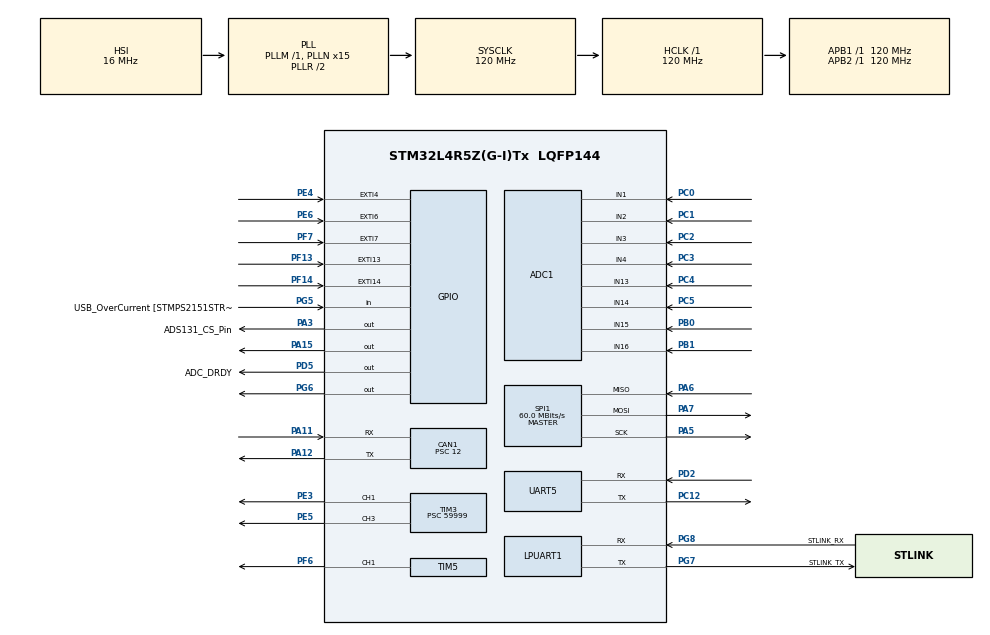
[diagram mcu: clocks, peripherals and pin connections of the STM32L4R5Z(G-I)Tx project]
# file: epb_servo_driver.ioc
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ADC1.Channel-0\#ChannelRegularConversion=ADC_CHANNEL_1
ADC1.NbrOfConversionFlag=1
ADC1.OffsetNumber-0\#ChannelRegularConversion=ADC_OFFSET_NONE
ADC1.Rank-0\#ChannelRegularConversion=1
ADC1.SamplingTime-0\#ChannelRegularConversion=ADC_SAMPLETIME_2CYCLES_5
ADC1.SingleDiff-0\#ChannelRegularConversion=ADC_DIFFERENTIAL_ENDED
ADC1.master=1
CAN1.BS1=CAN_BS1_13TQ
CAN1.BS2=CAN_BS2_6TQ
CAN1.CalculateBaudRate=500000
CAN1.CalculateTimeBit=2000
CAN1.CalculateTimeQuantum=100.0
CAN1.Mode=CAN_MODE_LOOPBACK
CAN1.Prescaler=12
LPUART1.WordLength=UART_WORDLENGTH_8B
Mcu.Family=STM32L4
Mcu.Name=STM32L4R5Z(G-I)Tx
Mcu.Package=LQFP144
NVIC.CAN1_RX0_IRQn=true\:0\:0\:false\:false\:true\:true\:true\:true
NVIC.PriorityGroup=NVIC_PRIORITYGROUP_4
NVIC.TIM1_UP_TIM16_IRQn=true\:0\:0\:false\:false\:true\:true\:true\:true
PA11.GPIO_PuPd=GPIO_PULLUP
PA11.Mode=CAN_Activate
PA11.Signal=CAN1_RX
PA12.Mode=CAN_Activate
PA12.Signal=CAN1_TX
PA13\ (JTMS/SWDIO).Mode=Trace_Asynchronous_SW
PA13\ (JTMS/SWDIO).Signal=SYS_JTMS-SWDIO
PA14\ (JTCK/SWCLK).Mode=Trace_Asynchronous_SW
PA14\ (JTCK/SWCLK).Signal=SYS_JTCK-SWCLK
PA15\ (JTDI).Signal=GPIO_Output
PA3.GPIO_Label=ADS131_CS_Pin
PA3.Signal=GPIO_Output
PA5.Mode=Full_Duplex_Master
PA5.Signal=SPI1_SCK
PA6.Mode=Full_Duplex_Master
PA6.Signal=SPI1_MISO
PA7.Mode=Full_Duplex_Master
PA7.Signal=SPI1_MOSI
PB0.Signal=ADCx_IN15
PB1.Signal=ADCx_IN16
PB3\ (JTDO/TRACESWO).Mode=Trace_Asynchronous_SW
PB3\ (JTDO/TRACESWO).Signal=SYS_JTDO-SWO
PC0.Signal=ADCx_IN1
PC1.Signal=ADCx_IN2
PC10.Signal=SPI3_SCK
PC12.Mode=Asynchronous
PC12.Signal=UART5_TX
PC2.Signal=ADCx_IN3
PC3.Signal=ADCx_IN4
PC4.Signal=ADCx_IN13
PC5.Signal=ADCx_IN14
PD2.Mode=Asynchronous
PD2.Signal=UART5_RX
PD5.GPIO_Label=ADC_DRDY
PD5.Signal=GPIO_Output
PE3.Signal=S_TIM3_CH1
PE4.Signal=GPXTI4
PE5.Signal=S_TIM3_CH3
PE6.Signal=GPXTI6
PF13.Signal=GPXTI13
PF14.Signal=GPXTI14
PF6.Signal=S_TIM5_CH1
PF7.Signal=GPXTI7
PG5.GPIO_Label=USB_OverCurrent [STMPS2151STR_FAULT]
PG5.Signal=GPIO_Input
PG6.Signal=GPIO_Output
PG7.GPIO_Label=STLINK_TX
PG7.Mode=Asynchronous
PG7.Signal=LPUART1_TX
PG8.GPIO_Label=STLINK_RX
PG8.Mode=Asynchronous
PG8.Signal=LPUART1_RX
PH0-OSC_IN\ (PH0).Mode=HSE-External-Oscillator
PH0-OSC_IN\ (PH0).Signal=RCC_OSC_IN
PH1-OSC_OUT\ (PH1).Mode=HSE-External-Oscillator
PH1-OSC_OUT\ (PH1).Signal=RCC_OSC_OUT
ProjectManager.HeapSize=0x200
ProjectManager.StackSize=0x400
ProjectManager.TargetToolchain=STM32CubeIDE
RCC.48MHZClocksFreq_Value=24000000
RCC.ADCFreq_Value=64000000
RCC.AHBFreq_Value=120000000
RCC.APB1Freq_Value=120000000
RCC.APB1TimFreq_Value=120000000
RCC.APB2Freq_Value=120000000
RCC.APB2TimFreq_Value=120000000
RCC.CK48CLockSelection=RCC_USBCLKSOURCE_HSI48
RCC.CortexFreq_Value=120000000
RCC.HCLKFreq_Value=120000000
RCC.HSE_VALUE=8000000
RCC.HSI48_VALUE=48000000
RCC.HSI_VALUE=16000000
RCC.LSE_VALUE=32768
RCC.MSI_VALUE=4000000
RCC.PLLMUL=RCC_PLL_MUL9
RCC.PLLN=15
RCC.PLLSourceVirtual=RCC_PLLSOURCE_HSI
RCC.PRESCALERUSB=RCC_USBCLKSOURCE_PLL_DIV1_5
RCC.SYSCLKFreq_VALUE=120000000
RCC.SYSCLKSource=RCC_SYSCLKSOURCE_PLLCLK
RCC.SYSCLKSourceVirtual=RCC_SYSCLKSOURCE_PLLCLK
RCC.USBFreq_Value=48000000
RCC.VCOOutputFreq_Value=240000000
SH.ADCx_IN1.0=ADC1_IN1,IN1-Differential
SH.ADCx_IN13.0=ADC1_IN13,IN13-Differential
SH.ADCx_IN14.0=ADC1_IN14,IN13-Differential
SH.ADCx_IN15.0=ADC1_IN15,IN15-Differential
SH.ADCx_IN16.0=ADC1_IN16,IN15-Differential
SH.ADCx_IN2.0=ADC1_IN2,IN1-Differential
SH.ADCx_IN3.0=ADC1_IN3,IN3-Differential
SH.ADCx_IN4.0=ADC1_IN4,IN3-Differential
SH.S_TIM3_CH1.0=TIM3_CH1,PWM Generation1 CH1
SH.S_TIM3_CH3.0=TIM3_CH3,PWM Generation3 CH3
SH.S_TIM5_CH1.0=TIM5_CH1,PWM Generation1 CH1
SPI1.CLKPhase=SPI_PHASE_2EDGE
SPI1.CalculateBaudRate=60.0 MBits/s
SPI1.DataSize=SPI_DATASIZE_8BIT
SPI1.Direction=SPI_DIRECTION_2LINES
SPI1.Mode=SPI_MODE_MASTER
SPI1.VirtualType=VM_MASTER
TIM16.Period=59999
TIM16.Prescaler=39
TIM3.Channel-PWM\ Generation1\ CH1=TIM_CHANNEL_1
TIM3.Channel-PWM\ Generation3\ CH3=TIM_CHANNEL_3
TIM3.Period=5
TIM3.Prescaler=59999
TIM5.Channel-PWM\ Generation1\ CH1=TIM_CHANNEL_1
TIM5.Period=5
TIM5.Prescaler=59999
VP_TIM16_VS_ClockSourceINT.Mode=Enable_Timer
VP_TIM3_VS_ClockSourceINT.Mode=Internal
VP_TIM5_VS_ClockSourceINT.Mode=Internal
board=NUCLEO-L4R5ZI

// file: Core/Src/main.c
/* USER CODE BEGIN Header */
/**
 ******************************************************************************
 * @file           : main.c
 * @brief          : Main program body
 ******************************************************************************
 * @attention
 *
 * Copyright (c) 2025 STMicroelectronics.
 * All rights reserved.
 *
 * This software is licensed under terms that can be found in the LICENSE file
 * in the root directory of this software component.
 * If no LICENSE file comes with this software, it is provided AS-IS.
 *
 ******************************************************************************
 */
/* USER CODE END Header */
#include "main.h"

/* USER CODE BEGIN Includes */
#include "../../Drivers/servo_driver/servo_driver.h"
#include <stdio.h>
#include <stdarg.h>
#include <string.h>
#include "../../Drivers/ads_driver/ADS131B04Q1.h"
/* USER CODE END Includes */

ADC_HandleTypeDef hadc1;

CAN_HandleTypeDef hcan1;

UART_HandleTypeDef hlpuart1;
UART_HandleTypeDef huart5;

SPI_HandleTypeDef hspi1;

TIM_HandleTypeDef htim3;
TIM_HandleTypeDef htim5;
TIM_HandleTypeDef htim16;

/* USER CODE BEGIN PV */
CAN_TxHeaderTypeDef pHeader;
uint32_t TxMailbox;
uint8_t dummyData;
/* USER CODE END PV */

void SystemClock_Config(void);
static void MX_GPIO_Init(void);
static void MX_LPUART1_UART_Init(void);
static void MX_TIM16_Init(void);
static void MX_TIM3_Init(void);
static void MX_CAN1_Init(void);
static void MX_ADC1_Init(void);
static void MX_UART5_Init(void);
static void MX_TIM5_Init(void);
static void MX_SPI1_Init(void);

/* USER CODE BEGIN 0 */

/* ------------------ configure CAN ------------------  */
CAN_TxHeaderTypeDef TxHeader;
CAN_RxHeaderTypeDef RxHeader;

// mailbox to send the data
uint32_t TxMailbox;

// buffers for transmit and receive
uint8_t TxData[8];
uint8_t RxData[8];

void HAL_CAN_RxFifo0MsgPendingCallback(CAN_HandleTypeDef *hcan)
{

	if (HAL_CAN_GetRxMessage(hcan, CAN_RX_FIFO0, &RxHeader, RxData) == HAL_OK)
    {
        // process RxData
    }
}

/* ------------------ configure timer ------------------  */

// number values represents which timer channel it actually is (if you only want three channels, just have it in twice
enum ch {
	CH1 = 1, CH2 = 2, CH3 = 3, CH4 = 1 // so channel 4 gets no signal
};

/*
 * take in a float voltage and transmit via CAN
 * checking HAL_OK and communicating via debug_transmit
 */
void CAN_transmit_voltage(float voltsChannelReading) {
	TxHeader.DLC = 4; // float is 4 bytes?
	memcpy(TxData, &voltsChannelReading, sizeof(float));  // copy raw bytes

	int status = 0;
	status = HAL_CAN_AddTxMessage(&hcan1, &TxHeader, TxData, &TxMailbox);
	if (status != HAL_OK) {
		debug_transmit("CAN Communication failed\n");
	} else {
		debug_transmit("CAN Communication success\n");
	}
}

	/*
	 * to see these:
	 * open Putty
	 * 	connection type: serial
	 * 	under serial settings:
	 * 		serial line connect to: {COM# in Device Manager under Ports>STM COM Port}
	 * 		baud rate = 209700
	 * 		flow control: none
	 */
	void debug_transmit(const char *message) {
		HAL_UART_Transmit(&hlpuart1, message, strlen(message) + 1, 1000);
	}

	double width1 = MIN_PULSE_WIDTH;
	double width2 = NEUTRAL_PULSE_WIDTH;
	double width3 = MAX_PULSE_WIDTH;

	/*
	 * set pulse width and transmit debug responses for a given channel
	 */
	void set_width(double width, TIM_HandleTypeDef *p_htim, uint8_t ch) {
		uint8_t fail = servo_driver_set_pw(&width, p_htim, ch);
		if (fail != 0) {
			debug_transmit("\nSetting pulse width failed\n");
		} else if (width == width1) {
			debug_transmit("\nPulse width set to min\n");
		} else if (width == width2) {
			debug_transmit("\nPulse width set to neutral\n");
		} else if (width == width3) {
			debug_transmit("\nPulse width set to max\n");
		} else {
			debug_transmit("\nNot a valid pulse width\n");
		}
	}

	/*
	 * rotate though the minimum, neutral, and maximum pulse widths for a given channel
	 */
	void test_angles(TIM_HandleTypeDef *p_htim, uint8_t ch) {
		if (ch == 1) {
			debug_transmit("\nCHANNEL 1 TEST\n");
		} else if (ch == 2) {
			debug_transmit("CHANNEL 2 TEST\n");
		} else if (ch == 3) {
			debug_transmit("CHANNEL 3 TEST\n");
		} else if (ch == 4) {
			debug_transmit("CHANNEL 4 TEST\n");
		}

		// min
		set_width(width1, p_htim, ch);
		HAL_Delay(1000);

		// neutral
		set_width(width2, p_htim, ch);
		HAL_Delay(1000);

		// max
		set_width(width3, p_htim, ch);
		HAL_Delay(1000);
	}

/* USER CODE END 0 */

int main(void)
{

  /* MCU Configuration--------------------------------------------------------*/

  /* Reset of all peripherals, Initializes the Flash interface and the Systick. */
  HAL_Init();

  /* USER CODE BEGIN Init */

		// CURRENT ERROR: HAL_TIMEOUT in stm32l4xx_hal_rcc.c [line: 564]
  /* USER CODE END Init */

  /* Configure the system clock */
  SystemClock_Config();

  /* Initialize all configured peripherals */
  MX_GPIO_Init();
  MX_LPUART1_UART_Init();
  MX_TIM16_Init();
  MX_TIM3_Init();
  MX_CAN1_Init();
  MX_ADC1_Init();
  MX_UART5_Init();
  MX_TIM5_Init();
  MX_SPI1_Init();
  /* USER CODE BEGIN 2 */

	/* --------------------------- CAN --------------------------- */

	HAL_CAN_Start(&hcan1);

	HAL_CAN_ActivateNotification(&hcan1, CAN_IT_RX_FIFO0_MSG_PENDING); // activate notification of receiving data (we need to write the interrupt timer)

	//before sending the data to the CAN, modify the header: <---------------------------------------------------- SHOULD I PUT THIS IN A FUNCTION?
	TxHeader.DLC = 4; // length of data to transmit in bytes
	TxHeader.ExtId = 0; // zero for basic CAN protocol
	TxHeader.IDE = CAN_ID_STD; // specifies the identifier (either CAN_ID_STD or CAN_ID_EXT)
	TxHeader.RTR = CAN_RTR_DATA; // because we're sending data
	TxHeader.StdId = 0x103; // we can give any identifier for this CAN peripheral
	TxHeader.TransmitGlobalTime = DISABLE; // just keep it disabled

	// send the data to the CAN TEST

//	TxData[0] = 0xf3; // sample data
//
//	int status = 0;
//	status = HAL_CAN_AddTxMessage(&hcan1, &TxHeader, TxData, &TxMailbox);
//	if (status != HAL_OK) {
//		debug_transmit("CAN Communication failed\n");
//	} else {
//		debug_transmit("CAN Communication success\n");
//		// data received to CAN_RX_FIFO0 --> callback will be called for the FIFO0_MSG_PENDING
//	}

	/* --------------------------- SERVO --------------------------- */

	// set the PWM frequency, initialise and configure the PWM signal generation for all timer 3 channels
	uint32_t freq = 50;
	uint8_t fail3 = init_servo_channels(&freq, &htim3, CH1, CH3, CH1, CH1);
	if (fail3) {
		debug_transmit("\nTimer 3 Initialisation failed\n");
	} else {
		debug_transmit("\nTimer 3 Channels initialised successfully\n");
	}
	uint8_t fail5 = init_servo_channels(&freq, &htim5, CH1, CH1, CH1, CH1);
	if (fail5) {
		debug_transmit("\Timer 5 Initialisation failed\n");
	} else {
		debug_transmit("\nTimer 5 Channels initialised successfully\n");
	}

	/* --------------------------- ADS --------------------------- */

	//    pHeader.DLC=1; // 1 byte for now but i have no idea why (based on https://youtu.be/ymD3F0h-ilE?si=p-_ooJEZVid1YJxc&t=546)
	//    pHeader.IDE=CAN_ID_STD;
	//    pHeader.RTR=CAN_RTR_DATA;
	//    pHeader.StdId=0x244;
	//    int status = 0;
	int32_t channelReading1 = 0;
	int32_t channelReading2 = 0;
	int32_t channelReading3 = 0;
	int32_t channelReading4 = 0;

	float voltsChannelReading1 = 0;
	float voltsChannelReading2 = 0;
	float voltsChannelReading3 = 0;
	float voltsChannelReading4 = 0;

	unsigned char tx_buff[100];

	int status = ADS131B04Q1_Init(&hspi1, GPIOA, GPIO_PIN_3);
	if (status == 1) {
		debug_transmit("\nADC Initialisation Failed\n");
		Error_Handler();
	}
	status = ADS131B04Q1_OSRConfig(7);
	if (status == 1) {
		debug_transmit("\nADC OSR Configuration Failed\n");
		Error_Handler();
	}
	status = ADS131B04Q1_Calibrate(0, 0.0002, 3, 3.0002, 1);
	if (status == 1) {
		debug_transmit("\nADC Calibration Failed\n");
		Error_Handler();
	}

  /* USER CODE END 2 */

  /* Infinite loop */
  /* USER CODE BEGIN WHILE */
	while (1) {
		/* --------------------------- SERVO --------------------------- */

		test_angles(&htim3, CH1);
		test_angles(&htim3, CH3);
		test_angles(&htim5, CH1);

		/* --------------------------- ADS --------------------------- */

		//returns signed 2s complement number as a fraction of range
		status = ADS131B04Q1_ReadChannels(&channelReading1,
				&channelReading2, &channelReading3, &channelReading4);
		if (status == 1) {
			debug_transmit("\nADC Channel Readings Failed\n");
			Error_Handler();
		}

		//convert signed values to voltage values
		voltsChannelReading1 = ADS131B04Q1_RawToVoltage(channelReading1, 1);
		voltsChannelReading2 = ADS131B04Q1_RawToVoltage(channelReading2, 2);
		voltsChannelReading3 = ADS131B04Q1_RawToVoltage(channelReading3, 3);
		voltsChannelReading4 = ADS131B04Q1_RawToVoltage(channelReading4, 4);

		/*
		 *to use the float type:
		 *Project > Properties > C/C++ Build > Settings > Tool Settings > MCU/MPU Settings > Use float with printf from newlib-nano (-u_printf_float)"
		 */

		sprintf((char*) tx_buff, "CH1: %f V\n\r", voltsChannelReading1);
		HAL_UART_Transmit(&hlpuart1, tx_buff, strlen((char*) tx_buff),
				1000);

		sprintf((char*) tx_buff, "CH2: %f V\n\r", voltsChannelReading2);
		HAL_UART_Transmit(&hlpuart1, tx_buff, strlen((char*) tx_buff),
				1000);

		sprintf((char*) tx_buff, "CH3: %f V\n\r", voltsChannelReading3);
		HAL_UART_Transmit(&hlpuart1, tx_buff, strlen((char*) tx_buff),
				1000);

		sprintf((char*) tx_buff, "CH4: %f V\n\r", voltsChannelReading4);
		HAL_UART_Transmit(&hlpuart1, tx_buff, strlen((char*) tx_buff),
				1000);

		// transmit voltage readings and current voltage stuffs through CAN?

		CAN_transmit_voltage(voltsChannelReading1);
		CAN_transmit_voltage(voltsChannelReading2);
		CAN_transmit_voltage(voltsChannelReading3);
		CAN_transmit_voltage(voltsChannelReading4);

    /* USER CODE END WHILE */

		}
}

void SystemClock_Config(void)
{
  RCC_OscInitTypeDef RCC_OscInitStruct = {0};
  RCC_ClkInitTypeDef RCC_ClkInitStruct = {0};

  /** Configure the main internal regulator output voltage
  */
  if (HAL_PWREx_ControlVoltageScaling(PWR_REGULATOR_VOLTAGE_SCALE1_BOOST) != HAL_OK)
  {
    Error_Handler();
  }

  /** Initializes the RCC Oscillators according to the specified parameters
  * in the RCC_OscInitTypeDef structure.
  */
  RCC_OscInitStruct.OscillatorType = RCC_OSCILLATORTYPE_HSI;
  RCC_OscInitStruct.HSIState = RCC_HSI_ON;
  RCC_OscInitStruct.HSICalibrationValue = RCC_HSICALIBRATION_DEFAULT;
  RCC_OscInitStruct.PLL.PLLState = RCC_PLL_ON;
  RCC_OscInitStruct.PLL.PLLSource = RCC_PLLSOURCE_HSI;
  RCC_OscInitStruct.PLL.PLLM = 1;
  RCC_OscInitStruct.PLL.PLLN = 15;
  RCC_OscInitStruct.PLL.PLLP = RCC_PLLP_DIV2;
  RCC_OscInitStruct.PLL.PLLQ = RCC_PLLQ_DIV2;
  RCC_OscInitStruct.PLL.PLLR = RCC_PLLR_DIV2;
  if (HAL_RCC_OscConfig(&RCC_OscInitStruct) != HAL_OK)
  {
    Error_Handler();
  }

  /** Initializes the CPU, AHB and APB buses clocks
  */
  RCC_ClkInitStruct.ClockType = RCC_CLOCKTYPE_HCLK|RCC_CLOCKTYPE_SYSCLK
                              |RCC_CLOCKTYPE_PCLK1|RCC_CLOCKTYPE_PCLK2;
  RCC_ClkInitStruct.SYSCLKSource = RCC_SYSCLKSOURCE_PLLCLK;
  RCC_ClkInitStruct.AHBCLKDivider = RCC_SYSCLK_DIV1;
  RCC_ClkInitStruct.APB1CLKDivider = RCC_HCLK_DIV1;
  RCC_ClkInitStruct.APB2CLKDivider = RCC_HCLK_DIV1;

  if (HAL_RCC_ClockConfig(&RCC_ClkInitStruct, FLASH_LATENCY_5) != HAL_OK)
  {
    Error_Handler();
  }
}

static void MX_ADC1_Init(void)
{

  ADC_ChannelConfTypeDef sConfig = {0};

  /* USER CODE BEGIN ADC1_Init 1 */
  debug_transmit("\nADC1 Initialisation START\n");

  /* USER CODE END ADC1_Init 1 */

  /** Common config
  */
  hadc1.Instance = ADC1;
  hadc1.Init.ClockPrescaler = ADC_CLOCK_ASYNC_DIV1;
  hadc1.Init.Resolution = ADC_RESOLUTION_12B;
  hadc1.Init.DataAlign = ADC_DATAALIGN_RIGHT;
  hadc1.Init.ScanConvMode = ADC_SCAN_DISABLE;
  hadc1.Init.EOCSelection = ADC_EOC_SINGLE_CONV;
  hadc1.Init.LowPowerAutoWait = DISABLE;
  hadc1.Init.ContinuousConvMode = DISABLE;
  hadc1.Init.NbrOfConversion = 1;
  hadc1.Init.DiscontinuousConvMode = DISABLE;
  hadc1.Init.ExternalTrigConv = ADC_SOFTWARE_START;
  hadc1.Init.ExternalTrigConvEdge = ADC_EXTERNALTRIGCONVEDGE_NONE;
  hadc1.Init.DMAContinuousRequests = DISABLE;
  hadc1.Init.Overrun = ADC_OVR_DATA_PRESERVED;
  hadc1.Init.OversamplingMode = DISABLE;
  if (HAL_ADC_Init(&hadc1) != HAL_OK)
  {
    Error_Handler();
  }

  /** Configure Regular Channel
  */
  sConfig.Channel = ADC_CHANNEL_1;
  sConfig.Rank = ADC_REGULAR_RANK_1;
  sConfig.SamplingTime = ADC_SAMPLETIME_2CYCLES_5;
  sConfig.SingleDiff = ADC_DIFFERENTIAL_ENDED;
  sConfig.OffsetNumber = ADC_OFFSET_NONE;
  sConfig.Offset = 0;
  if (HAL_ADC_ConfigChannel(&hadc1, &sConfig) != HAL_OK)
  {
    Error_Handler();
  }

}

static void MX_CAN1_Init(void)
{

  /* USER CODE BEGIN CAN1_Init 1 */
  debug_transmit("\nCAN1 Initialisation START\n");

  /* USER CODE END CAN1_Init 1 */
  hcan1.Instance = CAN1;
  hcan1.Init.Prescaler = 12;
  hcan1.Init.Mode = CAN_MODE_LOOPBACK;
  hcan1.Init.SyncJumpWidth = CAN_SJW_1TQ;
  hcan1.Init.TimeSeg1 = CAN_BS1_13TQ;
  hcan1.Init.TimeSeg2 = CAN_BS2_6TQ;
  hcan1.Init.TimeTriggeredMode = DISABLE;
  hcan1.Init.AutoBusOff = DISABLE;
  hcan1.Init.AutoWakeUp = DISABLE;
  hcan1.Init.AutoRetransmission = DISABLE;
  hcan1.Init.ReceiveFifoLocked = DISABLE;
  hcan1.Init.TransmitFifoPriority = DISABLE;
  if (HAL_CAN_Init(&hcan1) != HAL_OK)
  {
    Error_Handler();
  }
  /* USER CODE BEGIN CAN1_Init 2 */

		CAN_FilterTypeDef canfilterconfig;
		canfilterconfig.FilterActivation = CAN_FILTER_ENABLE;
		canfilterconfig.FilterBank = 0;
		canfilterconfig.FilterFIFOAssignment = CAN_RX_FIFO0;

		canfilterconfig.FilterIdHigh = 0;   // IMPORTANT: left-shift by 5 bits
		canfilterconfig.FilterIdLow  = 0;
		canfilterconfig.FilterMaskIdHigh = (0x7FF << 5);   // match all 11 bits
		canfilterconfig.FilterMaskIdLow  = 0;

		canfilterconfig.FilterMode = CAN_FILTERMODE_IDMASK;
		canfilterconfig.FilterScale = CAN_FILTERSCALE_32BIT;

		HAL_CAN_ConfigFilter(&hcan1, &canfilterconfig);

  /* USER CODE END CAN1_Init 2 */

}

static void MX_LPUART1_UART_Init(void)
{

  /* USER CODE BEGIN LPUART1_Init 1 */
	debug_transmit("\nUART1 Initialisation START\n");

  /* USER CODE END LPUART1_Init 1 */
  hlpuart1.Instance = LPUART1;
  hlpuart1.Init.BaudRate = 209700;
  hlpuart1.Init.WordLength = UART_WORDLENGTH_8B;
  hlpuart1.Init.StopBits = UART_STOPBITS_1;
  hlpuart1.Init.Parity = UART_PARITY_NONE;
  hlpuart1.Init.Mode = UART_MODE_TX_RX;
  hlpuart1.Init.HwFlowCtl = UART_HWCONTROL_NONE;
  hlpuart1.Init.OneBitSampling = UART_ONE_BIT_SAMPLE_DISABLE;
  hlpuart1.Init.ClockPrescaler = UART_PRESCALER_DIV1;
  hlpuart1.AdvancedInit.AdvFeatureInit = UART_ADVFEATURE_NO_INIT;
  hlpuart1.FifoMode = UART_FIFOMODE_DISABLE;
  if (HAL_UART_Init(&hlpuart1) != HAL_OK)
  {
    Error_Handler();
  }
  if (HAL_UARTEx_SetTxFifoThreshold(&hlpuart1, UART_TXFIFO_THRESHOLD_1_8) != HAL_OK)
  {
    Error_Handler();
  }
  if (HAL_UARTEx_SetRxFifoThreshold(&hlpuart1, UART_RXFIFO_THRESHOLD_1_8) != HAL_OK)
  {
    Error_Handler();
  }
  if (HAL_UARTEx_DisableFifoMode(&hlpuart1) != HAL_OK)
  {
    Error_Handler();
  }

}

static void MX_UART5_Init(void)
{

  /* USER CODE BEGIN UART5_Init 1 */
	debug_transmit("\nUART5 Initialisation START\n");

  /* USER CODE END UART5_Init 1 */
  huart5.Instance = UART5;
  huart5.Init.BaudRate = 115200;
  huart5.Init.WordLength = UART_WORDLENGTH_8B;
  huart5.Init.StopBits = UART_STOPBITS_1;
  huart5.Init.Parity = UART_PARITY_NONE;
  huart5.Init.Mode = UART_MODE_TX_RX;
  huart5.Init.HwFlowCtl = UART_HWCONTROL_NONE;
  huart5.Init.OverSampling = UART_OVERSAMPLING_16;
  huart5.Init.OneBitSampling = UART_ONE_BIT_SAMPLE_DISABLE;
  huart5.Init.ClockPrescaler = UART_PRESCALER_DIV1;
  huart5.AdvancedInit.AdvFeatureInit = UART_ADVFEATURE_NO_INIT;
  if (HAL_UART_Init(&huart5) != HAL_OK)
  {
    Error_Handler();
  }
  if (HAL_UARTEx_SetTxFifoThreshold(&huart5, UART_TXFIFO_THRESHOLD_1_8) != HAL_OK)
  {
    Error_Handler();
  }
  if (HAL_UARTEx_SetRxFifoThreshold(&huart5, UART_RXFIFO_THRESHOLD_1_8) != HAL_OK)
  {
    Error_Handler();
  }
  if (HAL_UARTEx_DisableFifoMode(&huart5) != HAL_OK)
  {
    Error_Handler();
  }

}

static void MX_SPI1_Init(void)
{

  /* SPI1 parameter configuration*/
  hspi1.Instance = SPI1;
  hspi1.Init.Mode = SPI_MODE_MASTER;
  hspi1.Init.Direction = SPI_DIRECTION_2LINES;
  hspi1.Init.DataSize = SPI_DATASIZE_8BIT;
  hspi1.Init.CLKPolarity = SPI_POLARITY_LOW;
  hspi1.Init.CLKPhase = SPI_PHASE_2EDGE;
  hspi1.Init.NSS = SPI_NSS_SOFT;
  hspi1.Init.BaudRatePrescaler = SPI_BAUDRATEPRESCALER_2;
  hspi1.Init.FirstBit = SPI_FIRSTBIT_MSB;
  hspi1.Init.TIMode = SPI_TIMODE_DISABLE;
  hspi1.Init.CRCCalculation = SPI_CRCCALCULATION_DISABLE;
  hspi1.Init.CRCPolynomial = 7;
  hspi1.Init.CRCLength = SPI_CRC_LENGTH_DATASIZE;
  hspi1.Init.NSSPMode = SPI_NSS_PULSE_DISABLE;
  if (HAL_SPI_Init(&hspi1) != HAL_OK)
  {
    Error_Handler();
  }
  /* USER CODE BEGIN SPI1_Init 2 */
  debug_transmit("\nSPI1 Initialisation START\n");

  /* USER CODE END SPI1_Init 2 */

}

static void MX_TIM3_Init(void)
{

  TIM_ClockConfigTypeDef sClockSourceConfig = {0};
  TIM_MasterConfigTypeDef sMasterConfig = {0};
  TIM_OC_InitTypeDef sConfigOC = {0};

  /* USER CODE BEGIN TIM3_Init 1 */
  debug_transmit("\nHAL Timer 3 Initialisation START\n");

  /* USER CODE END TIM3_Init 1 */
  htim3.Instance = TIM3;
  htim3.Init.Prescaler = 59999;
  htim3.Init.CounterMode = TIM_COUNTERMODE_UP;
  htim3.Init.Period = 5;
  htim3.Init.ClockDivision = TIM_CLOCKDIVISION_DIV1;
  htim3.Init.AutoReloadPreload = TIM_AUTORELOAD_PRELOAD_DISABLE;
  if (HAL_TIM_Base_Init(&htim3) != HAL_OK)
  {
    Error_Handler();
  }
  sClockSourceConfig.ClockSource = TIM_CLOCKSOURCE_INTERNAL;
  if (HAL_TIM_ConfigClockSource(&htim3, &sClockSourceConfig) != HAL_OK)
  {
    Error_Handler();
  }
  if (HAL_TIM_PWM_Init(&htim3) != HAL_OK)
  {
    Error_Handler();
  }
  sMasterConfig.MasterOutputTrigger = TIM_TRGO_RESET;
  sMasterConfig.MasterSlaveMode = TIM_MASTERSLAVEMODE_DISABLE;
  if (HAL_TIMEx_MasterConfigSynchronization(&htim3, &sMasterConfig) != HAL_OK)
  {
    Error_Handler();
  }
  sConfigOC.OCMode = TIM_OCMODE_PWM1;
  sConfigOC.Pulse = 0;
  sConfigOC.OCPolarity = TIM_OCPOLARITY_HIGH;
  sConfigOC.OCFastMode = TIM_OCFAST_DISABLE;
  if (HAL_TIM_PWM_ConfigChannel(&htim3, &sConfigOC, TIM_CHANNEL_1) != HAL_OK)
  {
    Error_Handler();
  }
  if (HAL_TIM_PWM_ConfigChannel(&htim3, &sConfigOC, TIM_CHANNEL_3) != HAL_OK)
  {
    Error_Handler();
  }
  HAL_TIM_MspPostInit(&htim3);

}

static void MX_TIM5_Init(void)
{

  TIM_ClockConfigTypeDef sClockSourceConfig = {0};
  TIM_MasterConfigTypeDef sMasterConfig = {0};
  TIM_OC_InitTypeDef sConfigOC = {0};

  /* USER CODE BEGIN TIM5_Init 1 */
  debug_transmit("\nHAL Timer 5 Initialisation START\n");

  /* USER CODE END TIM5_Init 1 */
  htim5.Instance = TIM5;
  htim5.Init.Prescaler = 59999;
  htim5.Init.CounterMode = TIM_COUNTERMODE_UP;
  htim5.Init.Period = 5;
  htim5.Init.ClockDivision = TIM_CLOCKDIVISION_DIV1;
  htim5.Init.AutoReloadPreload = TIM_AUTORELOAD_PRELOAD_DISABLE;
  if (HAL_TIM_Base_Init(&htim5) != HAL_OK)
  {
    Error_Handler();
  }
  sClockSourceConfig.ClockSource = TIM_CLOCKSOURCE_INTERNAL;
  if (HAL_TIM_ConfigClockSource(&htim5, &sClockSourceConfig) != HAL_OK)
  {
    Error_Handler();
  }
  if (HAL_TIM_PWM_Init(&htim5) != HAL_OK)
  {
    Error_Handler();
  }
  sMasterConfig.MasterOutputTrigger = TIM_TRGO_RESET;
  sMasterConfig.MasterSlaveMode = TIM_MASTERSLAVEMODE_DISABLE;
  if (HAL_TIMEx_MasterConfigSynchronization(&htim5, &sMasterConfig) != HAL_OK)
  {
    Error_Handler();
  }
  sConfigOC.OCMode = TIM_OCMODE_PWM1;
  sConfigOC.Pulse = 0;
  sConfigOC.OCPolarity = TIM_OCPOLARITY_HIGH;
  sConfigOC.OCFastMode = TIM_OCFAST_DISABLE;
  if (HAL_TIM_PWM_ConfigChannel(&htim5, &sConfigOC, TIM_CHANNEL_1) != HAL_OK)
  {
    Error_Handler();
  }
  HAL_TIM_MspPostInit(&htim5);

}

static void MX_TIM16_Init(void)
{

  htim16.Instance = TIM16;
  htim16.Init.Prescaler = 39;
  htim16.Init.CounterMode = TIM_COUNTERMODE_UP;
  htim16.Init.Period = 59999;
  htim16.Init.ClockDivision = TIM_CLOCKDIVISION_DIV1;
  htim16.Init.RepetitionCounter = 0;
  htim16.Init.AutoReloadPreload = TIM_AUTORELOAD_PRELOAD_DISABLE;
  if (HAL_TIM_Base_Init(&htim16) != HAL_OK)
  {
    Error_Handler();
  }

}

static void MX_GPIO_Init(void)
{
  GPIO_InitTypeDef GPIO_InitStruct = {0};

  /* GPIO Ports Clock Enable */
  __HAL_RCC_GPIOE_CLK_ENABLE();
  __HAL_RCC_GPIOF_CLK_ENABLE();
  __HAL_RCC_GPIOH_CLK_ENABLE();
  __HAL_RCC_GPIOC_CLK_ENABLE();
  __HAL_RCC_GPIOA_CLK_ENABLE();
  __HAL_RCC_GPIOB_CLK_ENABLE();
  __HAL_RCC_GPIOG_CLK_ENABLE();
  HAL_PWREx_EnableVddIO2();
  __HAL_RCC_GPIOD_CLK_ENABLE();

  /*Configure GPIO pin Output Level */
  HAL_GPIO_WritePin(GPIOA, ADS131_CS_Pin_Pin|GPIO_PIN_15, GPIO_PIN_RESET);

  /*Configure GPIO pin Output Level */
  HAL_GPIO_WritePin(GPIOG, GPIO_PIN_6, GPIO_PIN_RESET);

  /*Configure GPIO pin Output Level */
  HAL_GPIO_WritePin(ADC_DRDY_GPIO_Port, ADC_DRDY_Pin, GPIO_PIN_RESET);

  /*Configure GPIO pins : PE4 PE6 */
  GPIO_InitStruct.Pin = GPIO_PIN_4|GPIO_PIN_6;
  GPIO_InitStruct.Mode = GPIO_MODE_IT_RISING;
  GPIO_InitStruct.Pull = GPIO_NOPULL;
  HAL_GPIO_Init(GPIOE, &GPIO_InitStruct);

  /*Configure GPIO pins : PF7 PF13 PF14 */
  GPIO_InitStruct.Pin = GPIO_PIN_7|GPIO_PIN_13|GPIO_PIN_14;
  GPIO_InitStruct.Mode = GPIO_MODE_IT_RISING;
  GPIO_InitStruct.Pull = GPIO_NOPULL;
  HAL_GPIO_Init(GPIOF, &GPIO_InitStruct);

  /*Configure GPIO pins : ADS131_CS_Pin_Pin PA15 */
  GPIO_InitStruct.Pin = ADS131_CS_Pin_Pin|GPIO_PIN_15;
  GPIO_InitStruct.Mode = GPIO_MODE_OUTPUT_PP;
  GPIO_InitStruct.Pull = GPIO_NOPULL;
  GPIO_InitStruct.Speed = GPIO_SPEED_FREQ_LOW;
  HAL_GPIO_Init(GPIOA, &GPIO_InitStruct);

  /*Configure GPIO pin : USB_OverCurrent_Pin */
  GPIO_InitStruct.Pin = USB_OverCurrent_Pin;
  GPIO_InitStruct.Mode = GPIO_MODE_INPUT;
  GPIO_InitStruct.Pull = GPIO_NOPULL;
  HAL_GPIO_Init(USB_OverCurrent_GPIO_Port, &GPIO_InitStruct);

  /*Configure GPIO pin : PG6 */
  GPIO_InitStruct.Pin = GPIO_PIN_6;
  GPIO_InitStruct.Mode = GPIO_MODE_OUTPUT_PP;
  GPIO_InitStruct.Pull = GPIO_NOPULL;
  GPIO_InitStruct.Speed = GPIO_SPEED_FREQ_LOW;
  HAL_GPIO_Init(GPIOG, &GPIO_InitStruct);

  /*Configure GPIO pin : PC10 */
  GPIO_InitStruct.Pin = GPIO_PIN_10;
  GPIO_InitStruct.Mode = GPIO_MODE_AF_PP;
  GPIO_InitStruct.Pull = GPIO_NOPULL;
  GPIO_InitStruct.Speed = GPIO_SPEED_FREQ_VERY_HIGH;
  GPIO_InitStruct.Alternate = GPIO_AF6_SPI3;
  HAL_GPIO_Init(GPIOC, &GPIO_InitStruct);

  /*Configure GPIO pin : ADC_DRDY_Pin */
  GPIO_InitStruct.Pin = ADC_DRDY_Pin;
  GPIO_InitStruct.Mode = GPIO_MODE_OUTPUT_PP;
  GPIO_InitStruct.Pull = GPIO_NOPULL;
  GPIO_InitStruct.Speed = GPIO_SPEED_FREQ_LOW;
  HAL_GPIO_Init(ADC_DRDY_GPIO_Port, &GPIO_InitStruct);

  /* USER CODE BEGIN MX_GPIO_Init_2 */
  GPIO_InitStruct.Pin = GPIO_PIN_3;
  GPIO_InitStruct.Mode = GPIO_MODE_OUTPUT_PP;
  GPIO_InitStruct.Pull = GPIO_NOPULL;
  GPIO_InitStruct.Speed = GPIO_SPEED_FREQ_HIGH;
  HAL_GPIO_Init(GPIOA, &GPIO_InitStruct);

  // Deselect ADS131B04 initially
  HAL_GPIO_WritePin(GPIOA, GPIO_PIN_3, GPIO_PIN_SET);

  /* USER CODE END MX_GPIO_Init_2 */
}

void Error_Handler(void)
{
		__disable_irq();
		while (1) {
		}
}
